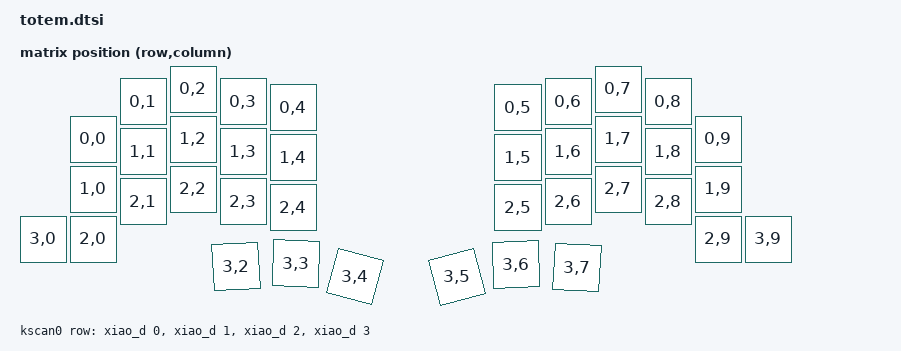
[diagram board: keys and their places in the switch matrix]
/*
 * Copyright (c) 2022 The ZMK Contributors
 *
 * SPDX-License-Identifier: MIT
 */

#include <dt-bindings/zmk/matrix_transform.h>
#include <physical_layouts.dtsi>

/ {
    chosen {
        zmk,kscan = &kscan0;
        zmk,physical-layout = &totem_layout;
    };

    kscan0: kscan_0 {
        compatible = "zmk,kscan-gpio-matrix";
        label = "KSCAN";

        diode-direction = "col2row";
        row-gpios
            = <&xiao_d 0 (GPIO_ACTIVE_HIGH | GPIO_PULL_DOWN)>
            , <&xiao_d 1 (GPIO_ACTIVE_HIGH | GPIO_PULL_DOWN)>
            , <&xiao_d 2 (GPIO_ACTIVE_HIGH | GPIO_PULL_DOWN)>
            , <&xiao_d 3 (GPIO_ACTIVE_HIGH | GPIO_PULL_DOWN)>
            ;
    };

    default_transform: keymap_transform_0 {
        compatible = "zmk,matrix-transform";
        columns = <10>;
        rows = <4>;
//             | SW01  | SW02  | SW03  | SW04  | SW05  |  | SW05  | SW04  | SW03  | SW02  | SW01  |
//             | SW06  | SW07  | SW08  | SW09  | SW10  |  | SW10  | SW09  | SW08  | SW07  | SW06  |
//      | SW16 | SW11  | SW12  | SW13  | SW14  | SW15  |  | SW15  | SW14  | SW13  | SW12  | SW11  | SW16  |
//                             | SW17  | SW18  | SW19  |  | SW19  | SW18  | SW17  |
        map = <
                RC(0,0) RC(0,1) RC(0,2) RC(0,3) RC(0,4)    RC(0,5) RC(0,6) RC(0,7) RC(0,8) RC(0,9)
                RC(1,0) RC(1,1) RC(1,2) RC(1,3) RC(1,4)    RC(1,5) RC(1,6) RC(1,7) RC(1,8) RC(1,9)
        RC(3,0) RC(2,0) RC(2,1) RC(2,2) RC(2,3) RC(2,4)    RC(2,5) RC(2,6) RC(2,7) RC(2,8) RC(2,9) RC(3,9)
                                RC(3,2) RC(3,3) RC(3,4)    RC(3,5) RC(3,6) RC(3,7)
        >;
    };

    /* Layout fisico (necessario para o ZMK Studio). Unidades: 1/100 de tecla.
       Ordem das teclas = ordem do "map" acima = ordem do totem.keymap. */
    totem_layout: totem_layout {
        compatible = "zmk,physical-layout";
        display-name = "Totem";
        transform = <&default_transform>;
        keys  //                     w   h     x    y      rot   rx   ry
            = <&key_physical_attrs 100 100   100  100       0    0    0>
            , <&key_physical_attrs 100 100   200   25       0    0    0>
            , <&key_physical_attrs 100 100   300    0       0    0    0>
            , <&key_physical_attrs 100 100   400   25       0    0    0>
            , <&key_physical_attrs 100 100   500   37       0    0    0>
            , <&key_physical_attrs 100 100   950   37       0    0    0>
            , <&key_physical_attrs 100 100  1050   25       0    0    0>
            , <&key_physical_attrs 100 100  1150    0       0    0    0>
            , <&key_physical_attrs 100 100  1250   25       0    0    0>
            , <&key_physical_attrs 100 100  1350  100       0    0    0>
            , <&key_physical_attrs 100 100   100  200       0    0    0>
            , <&key_physical_attrs 100 100   200  125       0    0    0>
            , <&key_physical_attrs 100 100   300  100       0    0    0>
            , <&key_physical_attrs 100 100   400  125       0    0    0>
            , <&key_physical_attrs 100 100   500  137       0    0    0>
            , <&key_physical_attrs 100 100   950  137       0    0    0>
            , <&key_physical_attrs 100 100  1050  125       0    0    0>
            , <&key_physical_attrs 100 100  1150  100       0    0    0>
            , <&key_physical_attrs 100 100  1250  125       0    0    0>
            , <&key_physical_attrs 100 100  1350  200       0    0    0>
            , <&key_physical_attrs 100 100     0  300       0    0    0>
            , <&key_physical_attrs 100 100   100  300       0    0    0>
            , <&key_physical_attrs 100 100   200  225       0    0    0>
            , <&key_physical_attrs 100 100   300  200       0    0    0>
            , <&key_physical_attrs 100 100   400  225       0    0    0>
            , <&key_physical_attrs 100 100   500  237       0    0    0>
            , <&key_physical_attrs 100 100   950  237       0    0    0>
            , <&key_physical_attrs 100 100  1050  225       0    0    0>
            , <&key_physical_attrs 100 100  1150  200       0    0    0>
            , <&key_physical_attrs 100 100  1250  225       0    0    0>
            , <&key_physical_attrs 100 100  1350  300       0    0    0>
            , <&key_physical_attrs 100 100  1450  300       0    0    0>
            , <&key_physical_attrs 100 100   386  355  (-300)  436  405>
            , <&key_physical_attrs 100 100   506  349     200  556  399>
            , <&key_physical_attrs 100 100   624  375    1500  674  425>
            , <&key_physical_attrs 100 100   828  376 (-1500)  878  426>
            , <&key_physical_attrs 100 100   946  351  (-200)  996  401>
            , <&key_physical_attrs 100 100  1068  357     300 1118  407>
            ;
    };
};
